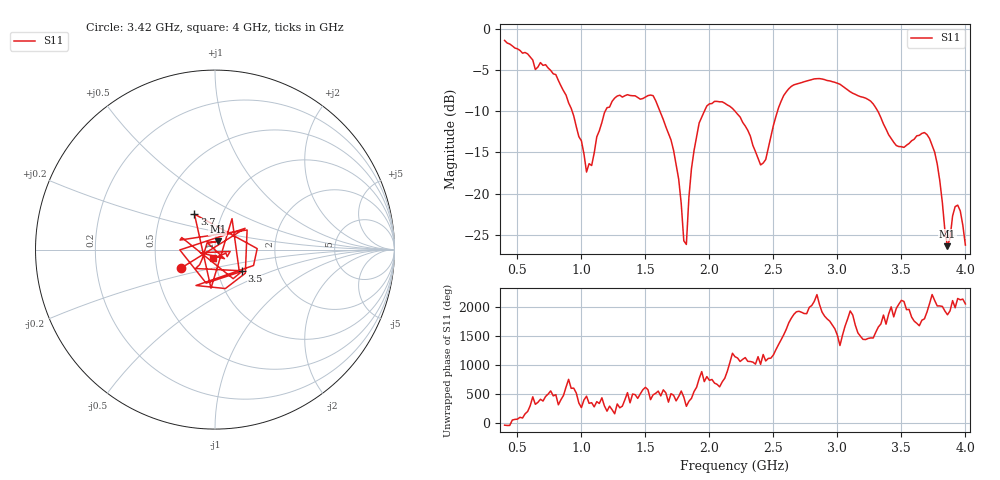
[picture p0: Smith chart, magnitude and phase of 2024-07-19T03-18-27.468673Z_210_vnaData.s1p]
!Created with skrf (http://scikit-rf.org).
# Hz S RI R 50.0
!freq ReS11 ImS11
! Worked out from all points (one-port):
!   181 points, 400 MHz to 4 GHz, reference 50 ohm
!   lowest |S11| = -26.4 dB at 3.86 GHz (marker M1), VSWR 1.10, Z = 51.3 + j4.67 ohm
!   |S11| at or under -10 dB: 1.614 GHz to 1.96 GHz (345.4 MHz wide, 19.3 % of centre); 2.202 GHz to 2.531 GHz (329.6 MHz wide, 13.9 % of centre); 3.317 GHz to end of sweep (the widest 3 of 4)
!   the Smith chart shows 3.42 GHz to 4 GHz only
!   S11 on the Smith chart (normalised r, x): 3.42 GHz: 0.67, -0.15; 3.5 GHz: 1.31, -0.33; 3.7 GHz: 0.74, +0.31; 4 GHz: 0.98, -0.09
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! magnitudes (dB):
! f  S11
! 400 MHz  -1.4
! 860 MHz  -7.5
! 1 GHz  -13.6
! 1.04 GHz  -17.4
! 1.18 GHz  -10.2
! 1.3 GHz  -8.0
! 1.56 GHz  -8.1
! 1.7 GHz  -13.5
! 1.76 GHz  -18.2
! 1.8 GHz  -25.8
! 1.82 GHz  -26.2
! 1.86 GHz  -16.9
! 1.92 GHz  -11.4
! 2.04 GHz  -8.8
! 2.2 GHz  -10.0
! 2.4 GHz  -16.5
! 2.56 GHz  -8.8
! 2.66 GHz  -6.8
! 3.1 GHz  -7.6
! 3.28 GHz  -9.1
! 3.42 GHz  -13.3
! 3.5 GHz  -14.3
! 3.56 GHz  -13.9
! 3.7 GHz  -12.8
! 3.78 GHz  -16.4
! 3.86 GHz  -26.4
! 3.94 GHz  -21.4
! 4 GHz  -26.3
